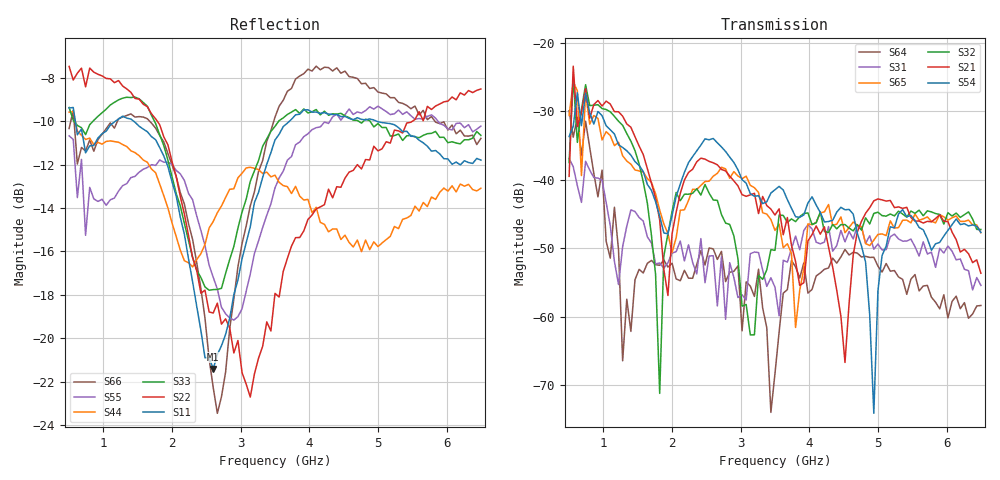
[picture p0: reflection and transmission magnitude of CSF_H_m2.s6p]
!Keysight Technologies,M9804A,MY58100912,A.14.10.03
!Date: Thursday, April 27, 2023 10:28:33
!Correction: S11(C  6-Port  )
!S12(C  6-Port  )
!S13(C  6-Port  )
!S14(C  6-Port  )
!S15(C  6-Port  )
!S16(C  6-Port  )
!S21(C  6-Port  )
!S22(C  6-Port  )
!S23(C  6-Port  )
!S24(C  6-Port  )
!S25(C  6-Port  )
!S26(C  6-Port  )
!S31(C  6-Port  )
!S32(C  6-Port  )
!S33(C  6-Port  )
!S34(C  6-Port  )
!S35(C  6-Port  )
!S36(C  6-Port  )
!S41(C  6-Port  )
!S42(C  6-Port  )
!S43(C  6-Port  )
!S44(C  6-Port  )
!S45(C  6-Port  )
!S46(C  6-Port  )
!S51(C  6-Port  )
!S52(C  6-Port  )
!S53(C  6-Port  )
!S54(C  6-Port  )
!S55(C  6-Port  )
!S56(C  6-Port  )
!S61(C  6-Port  )
!S62(C  6-Port  )
!S63(C  6-Port  )
!S64(C  6-Port  )
!S65(C  6-Port  )
!S66(C  6-Port  )
!S6P File: Measurement: :
# Hz S  RI  R 50
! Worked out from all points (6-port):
!   101 points, 500 MHz to 6.5 GHz, reference 50 ohm
!   strongest paths, dB at 500 MHz, 2 GHz, 3.5 GHz, 5 GHz, 6.5 GHz:
!     S54: -33.7, -45.2, -41.5, -56.2, -47.7
!     S21: -39.5, -47.9, -45.2, -42.8, -53.7
!     S32: -37.5, -44.7, -50.3, -44.7, -47.3
!     S65: -30.6, -50.6, -47.4, -48.0, -47.7
!     S31: -36.9, -50.7, -55.7, -49.4, -55.4
!     S64: -29.9, -52.2, -68.3, -52.6, -58.4
!   lowest |S11| = -21.4 dB at 2.6 GHz (marker M1), VSWR 1.19, Z = 42.4 + j2.15 ohm
!   |S11| at or under -10 dB: 590.1 MHz to 1.176 GHz (585.9 MHz wide, 66.4 % of centre); 1.44 GHz to 3.711 GHz (2.272 GHz wide, 88.2 % of centre); 4.979 GHz to end of sweep
